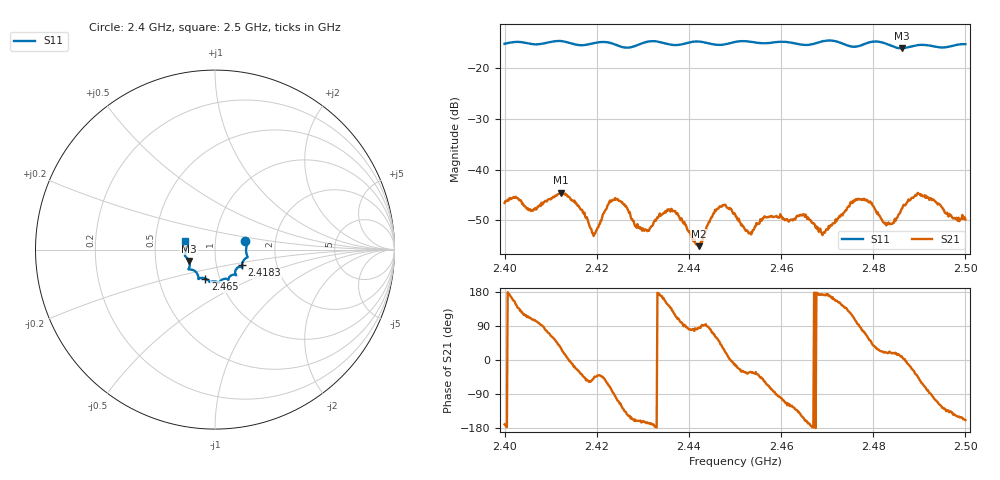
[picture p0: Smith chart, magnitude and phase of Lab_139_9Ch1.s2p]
# Hz S RI R 50
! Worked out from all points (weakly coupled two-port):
!   601 points, 2.4 GHz to 2.5 GHz, reference 50 ohm
!   highest |S21| = -44.52 dB at 2.4122 GHz (marker M1); lowest = -55.1 dB at 2.4422 GHz (marker M2)
!   lowest |S11| = -16.0 dB at 2.4862 GHz (marker M3), VSWR 1.37, Z = 37.1 - j4.8 ohm
!   |S11| at or under -10 dB: start of sweep to end of sweep
!   S12 and S22 are empty: the file has one direction only
!   S11 on the Smith chart (normalised r, x): 2.4 GHz: 1.40, +0.13; 2.4183 GHz: 1.33, -0.24; 2.465 GHz: 0.86, -0.29; 2.5 GHz: 0.71, +0.07
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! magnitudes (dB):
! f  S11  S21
! 2.4 GHz  -15.1  -46.5
! 2.406 GHz  -15.2  -48.0
! 2.4122 GHz  -14.6  -44.5
! 2.4167 GHz  -15.4  -47.9
! 2.4183 GHz  -15.2  -50.8
! 2.4195 GHz  -15.0  -52.6
! 2.424 GHz  -15.3  -45.6
! 2.4298 GHz  -15.1  -52.0
! 2.4333 GHz  -14.7  -49.4
! 2.4367 GHz  -15.4  -48.2
! 2.4422 GHz  -14.7  -55.1
! 2.4462 GHz  -15.3  -47.7
! 2.45 GHz  -14.8  -48.8
! 2.4532 GHz  -14.7  -52.5
! 2.465 GHz  -15.4  -48.8
! 2.4667 GHz  -15.2  -50.4
! 2.4692 GHz  -14.6  -52.4
! 2.4772 GHz  -15.5  -45.8
! 2.4833 GHz  -15.3  -50.4
! 2.4862 GHz  -16.0  -47.7
! 2.49 GHz  -15.4  -44.8
! 2.5 GHz  -15.2  -49.8
